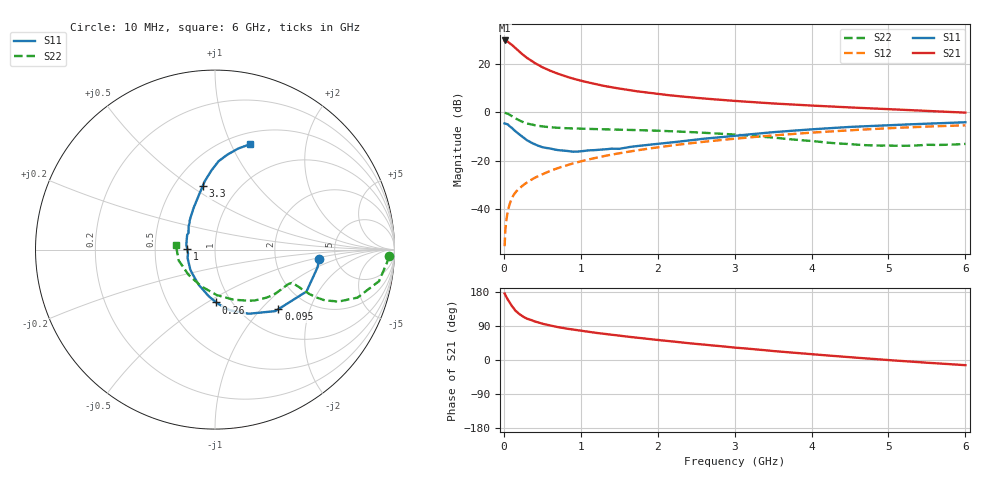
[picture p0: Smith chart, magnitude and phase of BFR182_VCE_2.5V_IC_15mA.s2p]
! Infineon Technologies  Discrete & RF Semiconductors
! BFR182
! VCE =  2.5 V,  IC =  15 mA
! Common Emitter S-Parameters:  Nov 2015
# GHz  S  MA  R  50
!  f  S11  S21  S12  S22
! GHz  MAG  ANG  MAG  ANG  MAG  ANG  MAG  ANG
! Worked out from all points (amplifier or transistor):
!   210 points, 10 MHz to 6 GHz, reference 50 ohm
!   highest |S21| = 29.6 dB at 10 MHz (marker M1)
!   |S21| within 3 dB of that: start of sweep to 145.5 MHz
!   unconditionally stable (mu >= 1): 632.2 MHz to 2.532 GHz
!   at 185 MHz: K = 0.63, MSG = 28.8 dB, |S12| = -32.1 dB
!   at 1.52 GHz: K = 1.05, MAG = 11.9 dB, |S12| = -16.9 dB
!   at 6 GHz: K = 0.89, MSG = 2.6 dB, |S12| = -5.5 dB
!   S11 on the Smith chart (normalised r, x): 10 MHz: 3.70, -0.59; 95 MHz: 1.45, -1.26; 260 MHz: 0.85, -0.55; 1 GHz: 0.73, +0.01; 3.3 GHz: 0.69, +0.56; 6 GHz: 0.62, +1.18
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0.01  0.5832 -5.2  30.18 175.6  0.0017 88.1  0.971 -2.1
0.02  0.5794 -10.0  29.91 171.3  0.0038 87.9  0.9603 -4.5
0.05  0.5607 -24.6  28.66 159.8  0.0087 80.1  0.9307 -10.9
0.095  0.4847 -43.2  25.23 145.1  0.0154 73.9  0.8468 -17.8
0.1  0.4799 -45.6  24.96 143.3  0.0162 73.5  0.8383 -18.6
0.15  0.4039 -62.2  21.06 130.1  0.022 69.7  0.7441 -22.9
0.2  0.3484 -76.0  17.8 121.4  0.0262 69.3  0.6741 -24.8
0.26  0.2944 -88.7  14.79 113.4  0.0317 68.9  0.6126 -25.3
0.3  0.2628 -97.5  13.18 109.1  0.0351 69.3  0.582 -25.2
0.4  0.2169 -114.4  10.38 101.9  0.0438 70.3  0.5346 -24.5
0.5  0.1886 -129.5  8.45 95.6  0.0518 70.5  0.5048 -23.9
0.7  0.1643 -153.4  6.228 86.9  0.0695 71.6  0.4738 -23.5
0.8  0.1596 -163.4  5.473 83.3  0.078 71.3  0.465 -23.7
1  0.1548 178.1  4.452 77.2  0.0959 71.0  0.4541 -24.8
1.02  0.156 176.7  4.377 76.7  0.0977 71.0  0.4531 -25.0
1.4  0.1755 152.0  3.25 66.8  0.1318 69.3  0.4376 -28.8
2.02  0.2227 128.2  2.352 52.5  0.1891 64.3  0.4116 -37.4
3.1  0.3353 103.9  1.661 31.2  0.2912 53.7  0.3331 -58.4
3.3  0.3594 101.1  1.581 27.6  0.3101 51.4  0.3141 -63.7
4.1  0.4507 91.6  1.34 13.6  0.3853 42.2  0.2434 -91.9
5.1  0.5441 81.1  1.133 -1.6  0.4722 29.6  0.2015 -141.7
6  0.6166 71.8  0.975 -13.7  0.5329 17.2  0.2205 172.7
